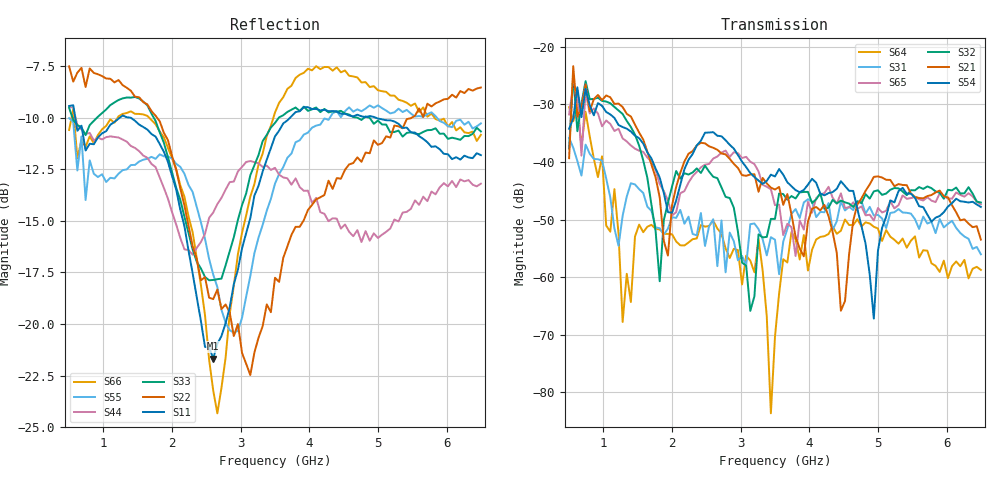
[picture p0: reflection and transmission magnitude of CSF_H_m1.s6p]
!Keysight Technologies,M9804A,MY58100912,A.14.10.03
!Date: Thursday, April 27, 2023 10:28:33
!Correction: S11(C  6-Port  )
!S12(C  6-Port  )
!S13(C  6-Port  )
!S14(C  6-Port  )
!S15(C  6-Port  )
!S16(C  6-Port  )
!S21(C  6-Port  )
!S22(C  6-Port  )
!S23(C  6-Port  )
!S24(C  6-Port  )
!S25(C  6-Port  )
!S26(C  6-Port  )
!S31(C  6-Port  )
!S32(C  6-Port  )
!S33(C  6-Port  )
!S34(C  6-Port  )
!S35(C  6-Port  )
!S36(C  6-Port  )
!S41(C  6-Port  )
!S42(C  6-Port  )
!S43(C  6-Port  )
!S44(C  6-Port  )
!S45(C  6-Port  )
!S46(C  6-Port  )
!S51(C  6-Port  )
!S52(C  6-Port  )
!S53(C  6-Port  )
!S54(C  6-Port  )
!S55(C  6-Port  )
!S56(C  6-Port  )
!S61(C  6-Port  )
!S62(C  6-Port  )
!S63(C  6-Port  )
!S64(C  6-Port  )
!S65(C  6-Port  )
!S66(C  6-Port  )
!S6P File: Measurement: :
# Hz S  RI  R 50
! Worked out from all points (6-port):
!   101 points, 500 MHz to 6.5 GHz, reference 50 ohm
!   strongest paths, dB at 500 MHz, 2 GHz, 3.5 GHz, 5 GHz, 6.5 GHz:
!     S54: -34.2, -48.8, -42.5, -55.4, -47.8
!     S21: -39.3, -47.5, -44.8, -42.5, -53.5
!     S32: -37.7, -44.2, -49.9, -44.9, -47.0
!     S65: -31.8, -49.3, -47.5, -48.0, -47.3
!     S31: -35.8, -49.6, -53.5, -49.2, -56.0
!     S64: -30.5, -52.5, -70.3, -51.5, -58.7
!   lowest |S11| = -21.7 dB at 2.6 GHz (marker M1), VSWR 1.18, Z = 42.6 + j2.03 ohm
!   |S11| at or under -10 dB: 589.5 MHz to 1.236 GHz (646.5 MHz wide, 70.8 % of centre); 1.401 GHz to 3.718 GHz (2.317 GHz wide, 90.5 % of centre); 4.973 GHz to end of sweep
